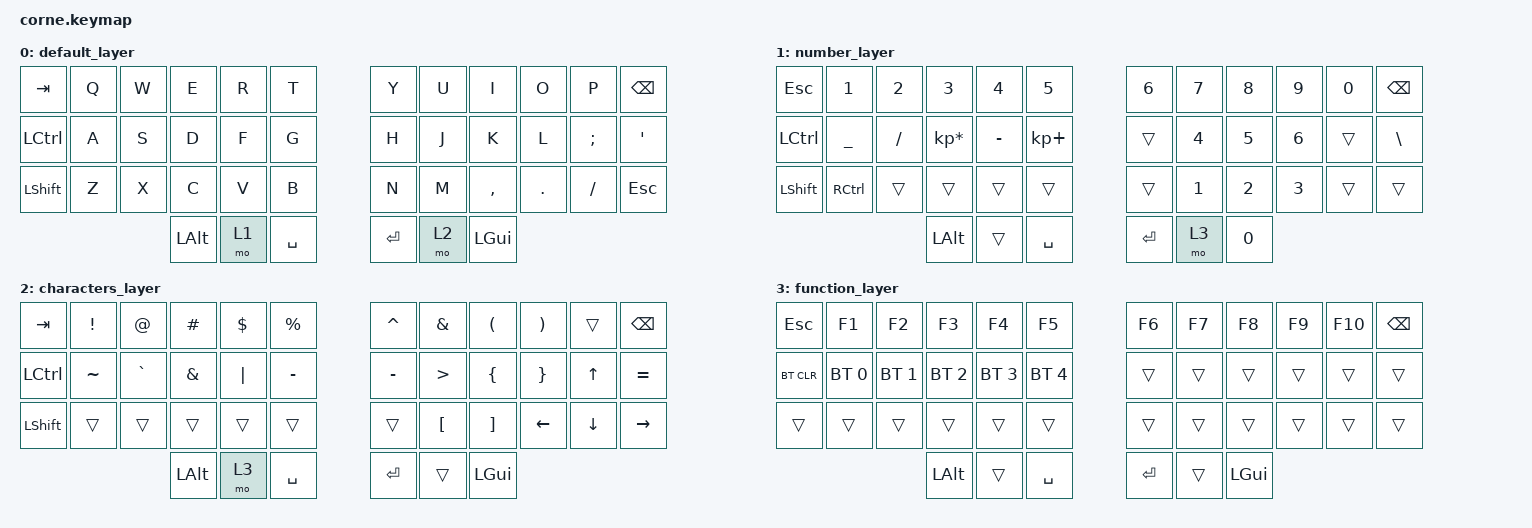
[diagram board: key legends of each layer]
/*
 * Copyright (c) 2020 The ZMK Contributors
 *
 * SPDX-License-Identifier: MIT
 */

#include <behaviors.dtsi>
#include <dt-bindings/zmk/keys.h>
#include <dt-bindings/zmk/bt.h>

/ {
    keymap {
        compatible = "zmk,keymap";

        default_layer {
// -----------------------------------------------------------------------------------------
// |  TAB |  Q  |  W  |  E  |  R  |  T  |   |  Y  |  U   |  I  |  O  |  P  | BKSP |
// | CTRL |  A  |  S  |  D  |  F  |  G  |   |  H  |  J   |  K  |  L  |  ;  |  '   |
// | SHFT |  Z  |  X  |  C  |  V  |  B  |   |  N  |  M   |  ,  |  .  |  /  | SHFT |
//                    | ALT | LWR | SPC |   | ENT | RSE  | ALT |
            bindings = <
   &kp TAB   &kp Q &kp W &kp E &kp R &kp T   &kp Y &kp U  &kp I     &kp O   &kp P    &kp BSPC
   &kp LCTRL &kp A &kp S &kp D &kp F &kp G   &kp H &kp J  &kp K     &kp L   &kp SEMI &kp SQT
   &kp LSHFT &kp Z &kp X &kp C &kp V &kp B   &kp N &kp M  &kp COMMA &kp DOT &kp FSLH &kp ESC
                   &kp LALT &mo 1 &kp SPACE   &kp RET &mo 2 &kp LGUI
            >;
        };
        number_layer {
// -----------------------------------------------------------------------------------------
// |  ESC |   1   |  2  |  3  |  4  |  5  |   |  6  |  7  |  8  |  9  |  0  | BKSP |
// | CTRL |   _   |  /  |  *  |  -  |  +  |   |     |  4  |  5  |  6  |  \  |      |
// | SHFT | RCTRL |     |     |     |     |   |     |  1  |  2  |  3  |     |      |
//                      | ALT |     | SPC |   | ENT |     | ALT |
            bindings = <
   &kp ESC   &kp N1    &kp N2    &kp N3          &kp N4    &kp N5      &kp N6    &kp N7  &kp N8 &kp N9    &kp N0   &kp BSPC
   &kp LCTRL &kp UNDER &kp FSLH  &kp KP_MULTIPLY &kp MINUS &kp KP_PLUS &trans    &kp N4  &kp N5 &kp N6    &trans   &kp BSLH
   &kp LSHFT &kp RCTRL &trans    &trans          &trans    &trans      &trans    &kp N1  &kp N2 &kp N3    &trans   &trans
                                                 &kp LALT  &trans      &kp SPACE &kp RET &mo 3  &kp N0
            >;
        };
        characters_layer {
// -----------------------------------------------------------------------------------------
// |  ESC |  !  |  @  |  #  |  $  |  %  |   |  ^  |  &  |  *  |  (  |  )  | BKSP |
// | CTRL |     |     |     |     |     |   |  -  |  =  |  {  |  }  | "|" |  `   |
// | SHFT |     |     |     |     |     |   |  _  |  +  |  [  |  ]  |  \  |  ~   | // TODO: Fix this row when &mkp is committed
//                    | GUI |     | SPC |   | ENT |     | ALT |
            bindings = <
   &kp TAB   &kp EXCL  &kp AT    &kp HASH  &kp DLLR  &kp PRCNT   &kp CARET &kp AMPS  &kp LPAR &kp RPAR &trans   &kp BSPC
   &kp LCTRL &kp TILDE &kp GRAVE &kp AMPS  &kp PIPE  &kp MINUS   &kp MINUS &kp GT    &kp LBRC &kp RBRC &kp UP   &kp EQUAL
   &kp LSHFT &trans    &trans    &trans    &trans    &trans      &trans    &kp LBKT  &kp RBKT &kp LEFT &kp DOWN &kp RIGHT
                                 &kp LALT  &mo 3     &kp SPACE   &kp RET   &trans    &kp LGUI
            >;
        };
        function_layer {
// -----------------------------------------------------------------------------------------
// |  ESC |  1  |  2  |  3  |  4  |  5  |   |  6  |  7  |  8  |  9  |  0  | BKSP |
// | BTCLR| BT1 | BT2 | BT3 | BT4 | BT5 |   | LFT | DWN |  UP | RGT |     |      |
// | SHFT |     |     |     |     |     |   |     |     |     |     |     |      |
//                    | ALT |     | SPC |   | ENT |     | ALT |
            bindings = <
   &kp ESC    &kp F1       &kp F2       &kp F3       &kp F4       &kp F5            &kp F6   &kp F7   &kp F8   &kp F9   &kp F10 &kp BSPC
   &bt BT_CLR &bt BT_SEL 0 &bt BT_SEL 1 &bt BT_SEL 2 &bt BT_SEL 3 &bt BT_SEL 4      &trans   &trans   &trans   &trans   &trans  &trans
   &trans     &trans       &trans       &trans       &trans       &trans            &trans   &trans   &trans   &trans   &trans  &trans
                                        &kp LALT     &trans       &kp SPACE         &kp RET  &trans   &kp LGUI
            >;
        };
    };
};
